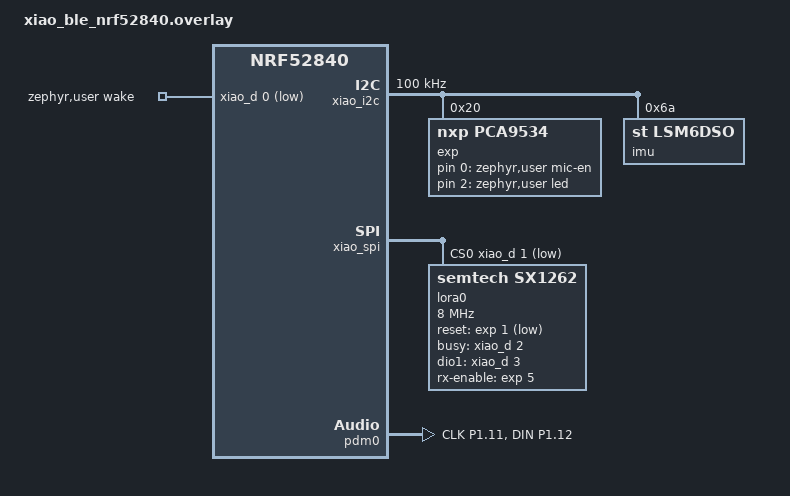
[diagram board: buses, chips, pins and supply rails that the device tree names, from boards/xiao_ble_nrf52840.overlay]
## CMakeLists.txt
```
# SylvaEcho firmware (Zephyr / nRF Connect SDK)
# Build:  west build -b xiao_ble/nrf52840 Firmware                       (rev 0.4, BME680)
#         west build -b xiao_ble/nrf52840 Firmware -- -DSENSOR=bme280      (rev 0.3, BME280)
cmake_minimum_required(VERSION 3.20.0)

# Environment sensor variant: bme680 (board rev 0.4, default) or bme280 (board rev 0.3)
set(SENSOR bme680 CACHE STRING "Environment sensor: bme680 or bme280")
set_property(CACHE SENSOR PROPERTY STRINGS bme680 bme280)
if(NOT SENSOR MATCHES "^(bme680|bme280)$")
  message(FATAL_ERROR "SENSOR must be bme680 or bme280, got '${SENSOR}'")
endif()
list(APPEND EXTRA_DTC_OVERLAY_FILE ${CMAKE_CURRENT_SOURCE_DIR}/variants/${SENSOR}.overlay)

# Per-node secrets (auth key): copy secrets.conf.example to secrets.conf (git-ignored).
if(EXISTS ${CMAKE_CURRENT_LIST_DIR}/secrets.conf)
  list(APPEND EXTRA_CONF_FILE ${CMAKE_CURRENT_LIST_DIR}/secrets.conf)
endif()

find_package(Zephyr REQUIRED HINTS $ENV{ZEPHYR_BASE})
project(sylvaecho)

target_sources(app PRIVATE
    src/main.c
    src/audio.c
    src/features.c
    src/payload.c
    src/sc1.c
    src/auth.c
)
```

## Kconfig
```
menu "SylvaEcho node"

config SYLVAECHO_AUTH_KEY
	string "Per-node report signing key (64 hex digits)"
	default ""
	help
	  32-byte HMAC-SHA256 key, as 64 hex digits. Put it in secrets.conf,
	  never in git, and register the same key for this node on the
	  dashboard server (Dashboard/backend/keys.json). Empty = reports are
	  sent unsigned.

endmenu

source "Kconfig.zephyr"
```

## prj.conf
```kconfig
# Core
CONFIG_MAIN_STACK_SIZE=4096
CONFIG_HEAP_MEM_POOL_SIZE=8192
CONFIG_FPU=y

# Buses and devices
CONFIG_GPIO=y
CONFIG_I2C=y
CONFIG_SPI=y
CONFIG_SENSOR=y
CONFIG_LORA=y
CONFIG_AUDIO=y
CONFIG_AUDIO_DMIC=y

# Random boot epoch for report authentication
CONFIG_ENTROPY_GENERATOR=y

# Power
CONFIG_PM_DEVICE=y

# Logging over RTT (UART0 pins D6/D7 are used by the PDM microphone)
CONFIG_LOG=y
CONFIG_LOG_DEFAULT_LEVEL=3
CONFIG_USE_SEGGER_RTT=y
CONFIG_LOG_BACKEND_RTT=y
CONFIG_LOG_BACKEND_UART=n
CONFIG_CONSOLE=n
CONFIG_UART_CONSOLE=n
CONFIG_SERIAL=n
CONFIG_CBPRINTF_FP_SUPPORT=y
```

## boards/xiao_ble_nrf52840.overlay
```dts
/*
 * SylvaEcho carrier board (rev 0.3 BME280, rev 0.4 BME680)
 *
 * XIAO pin map
 *   D0  WAKE_N      piezo comparator + LSM6DSOX INT1 (open-drain, active low)
 *   D1  LORA_NSS    D2 LORA_BUSY    D3 LORA_DIO1
 *   D4  I2C SDA     D5 I2C SCL      (LSM6DSOX 0x6A, BME680/BME280 0x76, TCA9534 0x20)
 *   D6  PDM CLK     D7 PDM DATA     (P1.11 / P1.12)
 *   D8  SPI SCK     D9 SPI MISO     D10 SPI MOSI
 *
 * TCA9534 outputs
 *   P0 EN_MIC   P1 LORA_NRST   P2 LED   P3 spare   P4 spare   P5 LORA_RXEN (Wio RF_SW, high = receive)
 */

#include <zephyr/dt-bindings/lora/sx126x.h>

/ {
	zephyr,user {
		wake-gpios = <&xiao_d 0 GPIO_ACTIVE_LOW>;
		mic-en-gpios = <&exp 0 GPIO_ACTIVE_HIGH>;
		led-gpios = <&exp 2 GPIO_ACTIVE_HIGH>;
	};

	aliases {
		lora0 = &lora0;
		imu0 = &imu;
		env0 = &env;
		dmic0 = &pdm0;
	};
};

/* D6/D7 carry the PDM microphone, so the default UART on those pins is off. */
&uart0 {
	status = "disabled";
};

&xiao_i2c {
	status = "okay";
	clock-frequency = <I2C_BITRATE_STANDARD>;

	/* TCA9534 is register-compatible with PCA9534. */
	exp: gpio@20 {
		compatible = "nxp,pca9534";
		reg = <0x20>;
		gpio-controller;
		#gpio-cells = <2>;
		ngpios = <8>;
	};

	/* LSM6DSOX shares WHO_AM_I and register map with LSM6DSO. */
	imu: lsm6dso@6a {
		compatible = "st,lsm6dso";
		reg = <0x6a>;
	};

	/* Environment sensor (node label "env", address 0x76) is added by
	 * variants/bme680.overlay or variants/bme280.overlay; see CMakeLists.txt.
	 */
};

&xiao_spi {
	status = "okay";
	cs-gpios = <&xiao_d 1 GPIO_ACTIVE_LOW>;

	lora0: lora@0 {
		compatible = "semtech,sx1262";
		reg = <0>;
		spi-max-frequency = <8000000>;
		reset-gpios = <&exp 1 GPIO_ACTIVE_LOW>;
		busy-gpios = <&xiao_d 2 GPIO_ACTIVE_HIGH>;
		dio1-gpios = <&xiao_d 3 GPIO_ACTIVE_HIGH>;
		rx-enable-gpios = <&exp 5 GPIO_ACTIVE_HIGH>;
		dio2-tx-enable;
		/* Wio-SX1262 datasheet: TCXO 1.7-3.3 V, at least 200 mV below VCC. */
		dio3-tcxo-voltage = <SX126X_DIO3_TCXO_1V8>;
		tcxo-power-startup-delay-ms = <5>;
	};
};

&pinctrl {
	pdm0_default: pdm0_default {
		group1 {
			psels = <NRF_PSEL(PDM_CLK, 1, 11)>,
				<NRF_PSEL(PDM_DIN, 1, 12)>;
		};
	};

	pdm0_sleep: pdm0_sleep {
		group1 {
			psels = <NRF_PSEL(PDM_CLK, 1, 11)>,
				<NRF_PSEL(PDM_DIN, 1, 12)>;
			low-power-enable;
		};
	};
};

&pdm0 {
	status = "okay";
	pinctrl-0 = <&pdm0_default>;
	pinctrl-1 = <&pdm0_sleep>;
	pinctrl-names = "default", "sleep";
	clock-source = "PCLK32M_HFXO";
};
```

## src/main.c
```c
/*
 * SylvaEcho: solar LoRa tree sensor
 *
 * Two triggers:
 *   - timer: every BIO_INTERVAL_S, record BIO_LISTEN_S of audio and report
 *     pollinator / bird activity, tilt and climate
 *   - WAKE_N: the piezo comparator (or IMU INT1) saw trunk vibration;
 *     confirm with trunk vibration RMS and LOGGING_CHECK_CLIPS of audio,
 *     and send a priority alert only when both agree
 */
#include <math.h>
#include <stdlib.h>
#include <zephyr/kernel.h>
#include <zephyr/device.h>
#include <zephyr/drivers/gpio.h>
#include <zephyr/drivers/lora.h>
#include <zephyr/drivers/sensor.h>
#include <zephyr/logging/log.h>
#include <zephyr/random/random.h>

#include "audio.h"
#include "auth.h"
#include "config.h"
#include "features.h"
#include "payload.h"
#include "sc1.h"
#include "sc1_regs.h"

LOG_MODULE_REGISTER(sylvaecho, LOG_LEVEL_INF);

#define USER DT_PATH(zephyr_user)

static const struct gpio_dt_spec wake = GPIO_DT_SPEC_GET(USER, wake_gpios);
static const struct gpio_dt_spec led = GPIO_DT_SPEC_GET(USER, led_gpios);
static const struct device *const exp = DEVICE_DT_GET(DT_NODELABEL(exp));

static const struct device *const lora = DEVICE_DT_GET(DT_ALIAS(lora0));
static const struct device *const imu = DEVICE_DT_GET(DT_ALIAS(imu0));
static const struct device *const env = DEVICE_DT_GET(DT_ALIAS(env0));

static K_SEM_DEFINE(wake_sem, 0, 1);
static struct gpio_callback wake_cb;
static uint16_t seq;
static float base_pitch, base_roll;

static void on_wake(const struct device *dev, struct gpio_callback *cb, uint32_t pins)
{
	k_sem_give(&wake_sem);
}

/* ---------------------------------------------------------------- LoRa */

static int radio_send(const struct report *r, int8_t dbm)
{
	struct lora_modem_config c = {
		.frequency = LORA_FREQ_HZ,
		.bandwidth = LORA_BW,
		.datarate = LORA_SF,
		.coding_rate = LORA_CR,
		.preamble_len = 8,
		.tx_power = dbm,
		.tx = true,
	};
	uint8_t buf[PAYLOAD_MAX_LEN];
	size_t len = auth_seal(buf, payload_pack(r, buf, sizeof(buf)), sizeof(buf));
	int err = lora_config(lora, &c);

	if (err == 0) {
		err = lora_send(lora, buf, len);
	}
	LOG_INF("tx type %u seq %u len %u err %d", r->type, r->seq, len, err);
	return err;
}

/* ----------------------------------------------------------- Sensors */

static int read_tilt(float *pitch, float *roll)
{
	struct sensor_value a[3];

	if (sensor_sample_fetch_chan(imu, SENSOR_CHAN_ACCEL_XYZ) ||
	    sensor_channel_get(imu, SENSOR_CHAN_ACCEL_XYZ, a)) {
		return -EIO;
	}
	float x = sensor_value_to_float(&a[0]);
	float y = sensor_value_to_float(&a[1]);
	float z = sensor_value_to_float(&a[2]);

	*pitch = atan2f(x, sqrtf(y * y + z * z)) * 57.2958f;
	*roll = atan2f(y, sqrtf(x * x + z * z)) * 57.2958f;
	return 0;
}

/* Short high-rate burst: RMS of trunk acceleration in milli-g. */
static int vibration_rms_mg(void)
{
	struct sensor_value odr = { .val1 = 1666, .val2 = 0 };
	struct sensor_value a[3];
	static double acc[200][3]; /* static: too large for the main stack */
	double sum = 0.0, mean[3] = { 0 };
	int n = ARRAY_SIZE(acc);

	sensor_attr_set(imu, SENSOR_CHAN_ACCEL_XYZ, SENSOR_ATTR_SAMPLING_FREQUENCY, &odr);
	for (int i = 0; i < n; i++) {
		sensor_sample_fetch_chan(imu, SENSOR_CHAN_ACCEL_XYZ);
		sensor_channel_get(imu, SENSOR_CHAN_ACCEL_XYZ, a);
		for (int k = 0; k < 3; k++) {
			acc[i][k] = sensor_value_to_double(&a[k]);
			mean[k] += acc[i][k] / n;
		}
		k_busy_wait(600);
	}
	for (int i = 0; i < n; i++) {
		for (int k = 0; k < 3; k++) {
			double d = acc[i][k] - mean[k];

			sum += d * d;
		}
	}
	odr.val1 = 12;
	odr.val2 = 500000;
	sensor_attr_set(imu, SENSOR_CHAN_ACCEL_XYZ, SENSOR_ATTR_SAMPLING_FREQUENCY, &odr);
	/* m/s^2 to milli-g */
	return (int)(sqrt(sum / n) / 9.80665 * 1000.0);
}

static void read_climate(struct report *r)
{
	struct sensor_value t, h, p;

	if (sensor_sample_fetch(env)) {
		r->flags |= FLAG_SENSOR_FAULT;
		return;
	}
	sensor_channel_get(env, SENSOR_CHAN_AMBIENT_TEMP, &t);
	sensor_channel_get(env, SENSOR_CHAN_HUMIDITY, &h);
	sensor_channel_get(env, SENSOR_CHAN_PRESS, &p);
	r->temp_cx100 = (int16_t)(sensor_value_to_double(&t) * 100.0);
	r->rh_pct = (uint8_t)sensor_value_to_double(&h);
	r->press_hpa_x10 = (uint16_t)(sensor_value_to_double(&p) * 100.0); /* kPa to hPa x10 */

	/* The BQ25570 has no temperature input; flag charging outside 0-45 degC for review. */
	if (r->temp_cx100 < CHARGE_MIN_C_X100 || r->temp_cx100 > CHARGE_MAX_C_X100) {
		r->flags |= FLAG_TEMP_OUT_OF_CHARGE_RANGE;
	}
}

static void fill_tilt(struct report *r)
{
	float pitch, roll;

	if (read_tilt(&pitch, &roll) == 0) {
		r->tilt_x_dx10 = (int16_t)((pitch - base_pitch) * 10.0f);
		r->tilt_y_dx10 = (int16_t)((roll - base_roll) * 10.0f);
	} else {
		r->flags |= FLAG_SENSOR_FAULT;
	}
}

static void new_report(struct report *r, uint8_t type)
{
	*r = (struct report){ .type = type, .node_id = NODE_ID, .seq = seq++ };
}

/* Attach the SC-1 block. Call after read_climate(): the cell NTC, when fitted,
 * replaces the enclosure temperature for the LiFePO4 charge-window flag. */
static void attach_sc1(struct report *r)
{
	if (!sc1_present() || sc1_read(&r->sc1) != 0) {
		return;
	}
	r->has_sc1 = true;
	if (r->sc1.temp_cell_cx100 != SC1_TEMP_INVALID) {
		int16_t t = r->sc1.temp_cell_cx100;

		r->flags &= ~FLAG_TEMP_OUT_OF_CHARGE_RANGE;
		if (t < CHARGE_MIN_C_X100 || t > CHARGE_MAX_C_X100) {
			r->flags |= FLAG_TEMP_OUT_OF_CHARGE_RANGE;
		}
	}
}

/* ---------------------------------------------------------- Handlers */

static void biodiversity_window(void)
{
	struct audio_features f;
	struct report r;

	features_init(&f);
	audio_capture(&f, BIO_LISTEN_S * 1000);

	new_report(&r, MSG_REPORT);
	r.buzz_index = features_buzz_index(&f);
	r.bird_score = features_bird_score(&f);
	fill_tilt(&r);
	read_climate(&r);
	attach_sc1(&r);

	bool tilted = abs(r.tilt_x_dx10) > TILT_ALERT_DEG_X10 ||
		      abs(r.tilt_y_dx10) > TILT_ALERT_DEG_X10;
	if (tilted) {
		r.type = MSG_TILT;
	}
	radio_send(&r, tilted ? LORA_TX_DBM_ALERT : LORA_TX_DBM_REPORT);

	/* Borer listen runs on the SC-1 while the node sleeps; the result goes in the next report. */
	if (sc1_present()) {
		sc1_command(SC1_CMD_CLEAR);
		sc1_command(SC1_CMD_LISTEN);
	}
}

/* WAKE_N is shared: the SC-1 pulses it for rain, low-battery and borer alerts.
 * Report alerts that are new since the last look, then fall through to the
 * chainsaw check (it exits quickly when the trunk is still). */
static void sc1_check_events(void)
{
	static uint8_t seen;
	const uint8_t alerts = SC1_ST_RAIN_ALERT | SC1_ST_LOW_BATT | SC1_ST_BORER_ALERT;
	uint8_t st;

	if (!sc1_present() || sc1_status(&st) != 0) {
		return;
	}
	uint8_t fresh = st & alerts & ~seen;

	seen = st & alerts;
	if (!fresh) {
		return;
	}
	LOG_INF("SC-1 alert 0x%02x", fresh);

	struct report r;

	new_report(&r, MSG_SC1_EVENT);
	fill_tilt(&r);
	read_climate(&r);
	attach_sc1(&r);
	radio_send(&r, LORA_TX_DBM_ALERT);
	sc1_command(SC1_CMD_CLEAR);
}

/* Returns true when the trunk was actually vibrating (a real check ran). */
static bool logging_check(void)
{
	int vib = vibration_rms_mg();
	int hits = 0;
	uint8_t best = 0;

	LOG_INF("wake: vibration %d mg", vib);
	if (vib < VIB_RMS_MIN_MG) {
		return false;
	}
	for (int i = 0; i < LOGGING_CHECK_CLIPS; i++) {
		struct audio_features f;

		features_init(&f);
		audio_capture(&f, 1000);
		uint8_t s = features_chainsaw_score(&f);

		best = MAX(best, s);
		if (s >= CHAINSAW_SCORE_MIN) {
			hits++;
		}
	}
	LOG_INF("chainsaw clips %d/%d, best %u", hits, LOGGING_CHECK_CLIPS, best);
	if (hits < LOGGING_CLIPS_NEEDED) {
		return true;
	}

	struct report r;

	new_report(&r, MSG_LOGGING);
	r.saw_score = best;
	fill_tilt(&r);
	read_climate(&r);
	attach_sc1(&r);
	gpio_pin_set_dt(&led, 1);
	radio_send(&r, LORA_TX_DBM_ALERT);
	gpio_pin_set_dt(&led, 0);
	return true;
}

/* -------------------------------------------------------------- Main */

int main(void)
{
	const struct device *devs[] = { lora, imu, env };

	for (size_t i = 0; i < ARRAY_SIZE(devs); i++) {
		if (!device_is_ready(devs[i])) {
			LOG_ERR("%s not ready", devs[i]->name);
		}
	}
	gpio_pin_configure_dt(&led, GPIO_OUTPUT_INACTIVE);
	/* Unused expander pins P3, P4, P6, P7: drive low so they do not float. */
	if (device_is_ready(exp)) {
		const gpio_pin_t spare[] = { 3, 4, 6, 7 };

		for (size_t i = 0; i < ARRAY_SIZE(spare); i++) {
			gpio_pin_configure(exp, spare[i], GPIO_OUTPUT_INACTIVE);
		}
	}
	audio_init();
	sc1_init();
	if (auth_init(CONFIG_SYLVAECHO_AUTH_KEY, sys_rand32_get()) == 0) {
		LOG_INF("reports are signed (HMAC-SHA256)");
	} else {
		LOG_WRN("no auth key in secrets.conf: reports are NOT signed");
	}

	gpio_pin_configure_dt(&wake, GPIO_INPUT);
	gpio_init_callback(&wake_cb, on_wake, BIT(wake.pin));
	gpio_add_callback(wake.port, &wake_cb);
	gpio_pin_interrupt_configure_dt(&wake, GPIO_INT_EDGE_TO_ACTIVE);

	/* Baseline tilt at install time; the BLE setup flow will re-zero it. */
	read_tilt(&base_pitch, &base_roll);

	struct report boot;

	new_report(&boot, MSG_BOOT);
	read_climate(&boot);
	attach_sc1(&boot);
	radio_send(&boot, LORA_TX_DBM_REPORT);

	int64_t next_bio = k_uptime_get() + (int64_t)BIO_INTERVAL_S * 1000;

	while (1) {
		int64_t wait = next_bio - k_uptime_get();

		if (wait > 0 && k_sem_take(&wake_sem, K_MSEC(wait)) == 0) {
			sc1_check_events();
			/* Hold off only after a real vibration check, so an SC-1 pulse
			 * never blinds the chainsaw detector for a minute. */
			if (logging_check()) {
				k_sleep(K_SECONDS(WAKE_HOLDOFF_S));
			}
			k_sem_reset(&wake_sem);
			continue;
		}
		biodiversity_window();
		next_bio = k_uptime_get() + (int64_t)BIO_INTERVAL_S * 1000;
	}
	return 0;
}
```

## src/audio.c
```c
#include <zephyr/kernel.h>
#include <zephyr/audio/dmic.h>
#include <zephyr/drivers/gpio.h>
#include <zephyr/pm/device.h>
#include <zephyr/logging/log.h>

#include "audio.h"
#include "config.h"

LOG_MODULE_REGISTER(audio, LOG_LEVEL_INF);

#define BLOCK_BYTES (AUDIO_BLOCK_SAMPLES * sizeof(int16_t))
#define BLOCK_COUNT 4

K_MEM_SLAB_DEFINE_STATIC(audio_slab, BLOCK_BYTES, BLOCK_COUNT, 4);

static const struct device *const dmic = DEVICE_DT_GET(DT_ALIAS(dmic0));
static const struct gpio_dt_spec mic_en =
	GPIO_DT_SPEC_GET(DT_PATH(zephyr_user), mic_en_gpios);

static struct pcm_stream_cfg stream = {
	.pcm_rate = AUDIO_RATE_HZ,
	.pcm_width = 16,
	.block_size = BLOCK_BYTES,
	.mem_slab = &audio_slab,
};

static struct dmic_cfg cfg = {
	.io = {
		.min_pdm_clk_freq = 1000000,
		.max_pdm_clk_freq = 3500000,
		.min_pdm_clk_dc = 40,
		.max_pdm_clk_dc = 60,
	},
	.streams = &stream,
	.channel = {
		.req_num_streams = 1,
		.req_num_chan = 1,
	},
};

int audio_init(void)
{
	if (!device_is_ready(dmic) || !gpio_is_ready_dt(&mic_en)) {
		LOG_ERR("mic devices not ready");
		return -ENODEV;
	}
	cfg.channel.req_chan_map_lo = dmic_build_channel_map(0, 0, PDM_CHAN_LEFT);
	gpio_pin_configure_dt(&mic_en, GPIO_OUTPUT_INACTIVE);
	/* Keep the PDM pins parked while the mic rail is off. */
	pm_device_action_run(dmic, PM_DEVICE_ACTION_SUSPEND);
	return 0;
}

int audio_capture(struct audio_features *f, int ms)
{
	int blocks = ms / AUDIO_BLOCK_MS;
	int err;

	gpio_pin_set_dt(&mic_en, 1);
	pm_device_action_run(dmic, PM_DEVICE_ACTION_RESUME);
	k_msleep(MIC_SETTLE_MS);

	err = dmic_configure(dmic, &cfg);
	if (err == 0) {
		err = dmic_trigger(dmic, DMIC_TRIGGER_START);
	}
	if (err) {
		LOG_ERR("dmic start failed: %d", err);
		goto off;
	}

	/* Drop the first block: PDM mics need a few ms to settle. */
	for (int i = 0; i <= blocks; i++) {
		void *buf;
		uint32_t size;

		err = dmic_read(dmic, 0, &buf, &size, AUDIO_BLOCK_MS * 2);
		if (err) {
			LOG_ERR("dmic read failed: %d", err);
			break;
		}
		if (i > 0) {
			features_push(f, buf, size / sizeof(int16_t));
		}
		k_mem_slab_free(&audio_slab, buf);
	}

	dmic_trigger(dmic, DMIC_TRIGGER_STOP);
off:
	pm_device_action_run(dmic, PM_DEVICE_ACTION_SUSPEND);
	gpio_pin_set_dt(&mic_en, 0);
	return err;
}
```

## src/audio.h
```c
#ifndef SYLVAECHO_AUDIO_H
#define SYLVAECHO_AUDIO_H

#include "features.h"

int audio_init(void);

/* Switch the mic rail on, stream `ms` of audio into `f`, switch it off. */
int audio_capture(struct audio_features *f, int ms);

#endif
```

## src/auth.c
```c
/* Report authentication (see auth.h). Plain C, no Zephyr dependency, so the
 * same code is unit-tested on a PC against Python's hmac module. */
#include <string.h>

#include "auth.h"
#include "payload.h"

/* ------------------------------------------------------------ SHA-256 */
struct sha256 {
	uint32_t h[8];
	uint64_t len;
	uint8_t buf[64];
	size_t n;
};

static const uint32_t K[64] = {
	0x428a2f98, 0x71374491, 0xb5c0fbcf, 0xe9b5dba5, 0x3956c25b, 0x59f111f1, 0x923f82a4, 0xab1c5ed5,
	0xd807aa98, 0x12835b01, 0x243185be, 0x550c7dc3, 0x72be5d74, 0x80deb1fe, 0x9bdc06a7, 0xc19bf174,
	0xe49b69c1, 0xefbe4786, 0x0fc19dc6, 0x240ca1cc, 0x2de92c6f, 0x4a7484aa, 0x5cb0a9dc, 0x76f988da,
	0x983e5152, 0xa831c66d, 0xb00327c8, 0xbf597fc7, 0xc6e00bf3, 0xd5a79147, 0x06ca6351, 0x14292967,
	0x27b70a85, 0x2e1b2138, 0x4d2c6dfc, 0x53380d13, 0x650a7354, 0x766a0abb, 0x81c2c92e, 0x92722c85,
	0xa2bfe8a1, 0xa81a664b, 0xc24b8b70, 0xc76c51a3, 0xd192e819, 0xd6990624, 0xf40e3585, 0x106aa070,
	0x19a4c116, 0x1e376c08, 0x2748774c, 0x34b0bcb5, 0x391c0cb3, 0x4ed8aa4a, 0x5b9cca4f, 0x682e6ff3,
	0x748f82ee, 0x78a5636f, 0x84c87814, 0x8cc70208, 0x90befffa, 0xa4506ceb, 0xbef9a3f7, 0xc67178f2,
};

#define ROR(x, n) (((x) >> (n)) | ((x) << (32 - (n))))

static void sha_block(struct sha256 *s, const uint8_t *p)
{
	uint32_t w[64], a, b, c, d, e, f, g, h;

	for (int i = 0; i < 16; i++) {
		w[i] = (uint32_t)p[4 * i] << 24 | (uint32_t)p[4 * i + 1] << 16 |
		       (uint32_t)p[4 * i + 2] << 8 | p[4 * i + 3];
	}
	for (int i = 16; i < 64; i++) {
		uint32_t s0 = ROR(w[i - 15], 7) ^ ROR(w[i - 15], 18) ^ (w[i - 15] >> 3);
		uint32_t s1 = ROR(w[i - 2], 17) ^ ROR(w[i - 2], 19) ^ (w[i - 2] >> 10);

		w[i] = w[i - 16] + s0 + w[i - 7] + s1;
	}
	a = s->h[0]; b = s->h[1]; c = s->h[2]; d = s->h[3];
	e = s->h[4]; f = s->h[5]; g = s->h[6]; h = s->h[7];
	for (int i = 0; i < 64; i++) {
		uint32_t t1 = h + (ROR(e, 6) ^ ROR(e, 11) ^ ROR(e, 25)) + ((e & f) ^ (~e & g)) + K[i] + w[i];
		uint32_t t2 = (ROR(a, 2) ^ ROR(a, 13) ^ ROR(a, 22)) + ((a & b) ^ (a & c) ^ (b & c));

		h = g; g = f; f = e; e = d + t1;
		d = c; c = b; b = a; a = t1 + t2;
	}
	s->h[0] += a; s->h[1] += b; s->h[2] += c; s->h[3] += d;
	s->h[4] += e; s->h[5] += f; s->h[6] += g; s->h[7] += h;
}

static void sha_init(struct sha256 *s)
{
	static const uint32_t iv[8] = {
		0x6a09e667, 0xbb67ae85, 0x3c6ef372, 0xa54ff53a, 0x510e527f, 0x9b05688c, 0x1f83d9ab, 0x5be0cd19,
	};

	memcpy(s->h, iv, sizeof(iv));
	s->len = 0;
	s->n = 0;
}

static void sha_update(struct sha256 *s, const uint8_t *p, size_t len)
{
	s->len += len;
	while (len--) {
		s->buf[s->n++] = *p++;
		if (s->n == 64) {
			sha_block(s, s->buf);
			s->n = 0;
		}
	}
}

static void sha_final(struct sha256 *s, uint8_t out[32])
{
	uint64_t bits = s->len * 8;
	uint8_t pad = 0x80;

	sha_update(s, &pad, 1);
	pad = 0;
	while (s->n != 56) {
		sha_update(s, &pad, 1);
	}
	for (int i = 7; i >= 0; i--) {
		uint8_t b = (uint8_t)(bits >> (8 * i));

		sha_update(s, &b, 1);
	}
	for (int i = 0; i < 8; i++) {
		out[4 * i] = s->h[i] >> 24;
		out[4 * i + 1] = s->h[i] >> 16;
		out[4 * i + 2] = s->h[i] >> 8;
		out[4 * i + 3] = s->h[i];
	}
}

void hmac_sha256(const uint8_t *key, size_t key_len, const uint8_t *msg, size_t msg_len,
		 uint8_t out[32])
{
	uint8_t k[64] = { 0 }, pad[64], inner[32];
	struct sha256 s;

	if (key_len > 64) {
		sha_init(&s);
		sha_update(&s, key, key_len);
		sha_final(&s, k);
	} else {
		memcpy(k, key, key_len);
	}
	for (int i = 0; i < 64; i++) {
		pad[i] = k[i] ^ 0x36;
	}
	sha_init(&s);
	sha_update(&s, pad, 64);
	sha_update(&s, msg, msg_len);
	sha_final(&s, inner);
	for (int i = 0; i < 64; i++) {
		pad[i] = k[i] ^ 0x5c;
	}
	sha_init(&s);
	sha_update(&s, pad, 64);
	sha_update(&s, inner, 32);
	sha_final(&s, out);
}

/* ----------------------------------------------------------- sealing */
static uint8_t key[32];
static size_t key_len;
static uint32_t epoch, counter;

static int hexval(char c)
{
	if (c >= '0' && c <= '9') return c - '0';
	if (c >= 'a' && c <= 'f') return c - 'a' + 10;
	if (c >= 'A' && c <= 'F') return c - 'A' + 10;
	return -1;
}

int auth_init(const char *hex_key, uint32_t boot_epoch)
{
	size_t n = hex_key ? strlen(hex_key) : 0;

	key_len = 0;
	if (n != 64) {
		return -1;
	}
	for (size_t i = 0; i < 32; i++) {
		int hi = hexval(hex_key[2 * i]), lo = hexval(hex_key[2 * i + 1]);

		if (hi < 0 || lo < 0) {
			return -1;
		}
		key[i] = (uint8_t)(hi << 4 | lo);
	}
	key_len = 32;
	epoch = boot_epoch;
	counter = 0;
	return 0;
}

static void put32(uint8_t *p, uint32_t v)
{
	p[0] = v; p[1] = v >> 8; p[2] = v >> 16; p[3] = v >> 24;
}

size_t auth_seal(uint8_t *buf, size_t len, size_t cap)
{
	uint8_t mac[32];

	if (!key_len || len < PAYLOAD_BASE_LEN || len + AUTH_TRAILER_LEN > cap) {
		return len;
	}
	buf[18] |= EXT_AUTH;
	put32(&buf[len], epoch);
	put32(&buf[len + 4], ++counter);
	hmac_sha256(key, key_len, buf, len + 8, mac);
	memcpy(&buf[len + 8], mac, AUTH_TAG_LEN);
	return len + AUTH_TRAILER_LEN;
}
```

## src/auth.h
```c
/*
 * Report authentication: every packet ends with a 16-byte trailer
 *
 *   u32 epoch    random at each boot (replay window resets safely on reboot)
 *   u32 counter  increments with every packet in this epoch
 *   u8  tag[8]   HMAC-SHA256(key, all bytes before the tag), truncated
 *
 * Byte 18 of the report gets EXT_AUTH. The server rejects a bad tag (forged or
 * altered) and any (epoch, counter) it has already accepted (replayed).
 *
 * The key is a per-node 32-byte secret, set in secrets.conf
 * (CONFIG_SYLVAECHO_AUTH_KEY, 64 hex digits). Next step: hold it in the
 * ATECC608B on SC-1 and use its HMAC command and monotonic counter, so the key
 * never sits in MCU flash.
 */
#ifndef SYLVAECHO_AUTH_H
#define SYLVAECHO_AUTH_H

#include <stddef.h>
#include <stdint.h>

#define AUTH_TRAILER_LEN 16
#define AUTH_TAG_LEN     8

/* Parse the hex key and pick the boot epoch. Returns 0, or -1 if no key (unsigned mode). */
int auth_init(const char *hex_key, uint32_t epoch);

/* Append the trailer to a packed report. Returns the new length, or `len` unchanged
 * when authentication is off or `cap` is too small. */
size_t auth_seal(uint8_t *buf, size_t len, size_t cap);

/* Exposed for tests. */
void hmac_sha256(const uint8_t *key, size_t key_len, const uint8_t *msg, size_t msg_len,
		 uint8_t out[32]);

#endif
```

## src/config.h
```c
#ifndef SYLVAECHO_CONFIG_H
#define SYLVAECHO_CONFIG_H

/* Schedule */
#define BIO_INTERVAL_S          (30 * 60)  /* biodiversity window every 30 min */
#define BIO_LISTEN_S            10         /* seconds of audio per window */
#define LOGGING_CHECK_CLIPS     3          /* 1 s clips checked after a wake */
#define LOGGING_CLIPS_NEEDED    2          /* clips that must look like a chainsaw */
#define WAKE_HOLDOFF_S          60         /* ignore new wakes this long after a check */

/* Audio */
#define AUDIO_RATE_HZ           16000
#define AUDIO_BLOCK_MS          100
#define AUDIO_BLOCK_SAMPLES     (AUDIO_RATE_HZ * AUDIO_BLOCK_MS / 1000)
#define MIC_SETTLE_MS           50

/* Detection thresholds: placeholders until the classifier is trained */
#define CHAINSAW_SCORE_MIN      60         /* 0-100 */
#define VIB_RMS_MIN_MG          25         /* trunk vibration RMS during a check */
#define TILT_ALERT_DEG_X10      30         /* 3.0 degrees from the installed baseline */

/* LiFePO4 charge temperature window, reported as a flag (BQ25570 has no NTC input) */
#define CHARGE_MIN_C_X100       0
#define CHARGE_MAX_C_X100       4500

/* LoRa (P2P). IN865 example channel; change for EU868 / US915. */
#define LORA_FREQ_HZ            865062500
#define LORA_SF                 SF_10
#define LORA_BW                 BW_125_KHZ
#define LORA_CR                 CR_4_5
#define LORA_TX_DBM_REPORT      14
#define LORA_TX_DBM_ALERT       20
#define NODE_ID                 0x0001

#endif
```

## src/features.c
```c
#include <math.h>
#include "features.h"
#include "config.h"

#ifndef M_PI
#define M_PI 3.14159265358979323846
#endif

/* RBJ biquad band-pass (constant 0 dB peak gain). */
static void bandpass(struct band_filter *bf, float f_lo, float f_hi)
{
	float f0 = sqrtf(f_lo * f_hi);
	float bw_oct = log2f(f_hi / f_lo);
	float w0 = 2.0f * (float)M_PI * f0 / AUDIO_RATE_HZ;
	float alpha = sinf(w0) * sinhf(logf(2.0f) / 2.0f * bw_oct * w0 / sinf(w0));
	float a0 = 1.0f + alpha;

	bf->b0 = alpha / a0;
	bf->b1 = 0.0f;
	bf->b2 = -alpha / a0;
	bf->a1 = -2.0f * cosf(w0) / a0;
	bf->a2 = (1.0f - alpha) / a0;
	bf->z1 = bf->z2 = 0.0f;
}

static inline float run(struct band_filter *bf, float x)
{
	float y = bf->b0 * x + bf->z1;

	bf->z1 = bf->b1 * x - bf->a1 * y + bf->z2;
	bf->z2 = bf->b2 * x - bf->a2 * y;
	return y;
}

void features_init(struct audio_features *f)
{
	bandpass(&f->buzz, 150.0f, 400.0f);
	bandpass(&f->bird, 1000.0f, 6000.0f);
	bandpass(&f->saw, 100.0f, 1000.0f);
	f->e_total = f->e_buzz = f->e_bird = f->e_saw = 0.0;
	f->n = 0;
}

void features_push(struct audio_features *f, const int16_t *pcm, size_t count)
{
	for (size_t i = 0; i < count; i++) {
		float x = (float)pcm[i] / 32768.0f;
		float yb = run(&f->buzz, x);
		float yr = run(&f->bird, x);
		float ys = run(&f->saw, x);

		f->e_total += (double)(x * x);
		f->e_buzz += (double)(yb * yb);
		f->e_bird += (double)(yr * yr);
		f->e_saw += (double)(ys * ys);
	}
	f->n += count;
}

static uint8_t ratio_score(double band, double total)
{
	if (total <= 1e-12) {
		return 0;
	}
	double r = band / total;

	if (r > 1.0) {
		r = 1.0;
	}
	return (uint8_t)(r * 100.0 + 0.5);
}

uint8_t features_buzz_index(const struct audio_features *f)
{
	return ratio_score(f->e_buzz, f->e_total);
}

uint8_t features_bird_score(const struct audio_features *f)
{
	return ratio_score(f->e_bird, f->e_total);
}

uint8_t features_chainsaw_score(const struct audio_features *f)
{
	/* A running saw puts most energy into 100-1000 Hz at a high level. */
	double rms = f->n ? sqrt(f->e_total / f->n) : 0.0;
	uint8_t share = ratio_score(f->e_saw, f->e_total);

	return (rms > 0.02) ? share : share / 4;
}
```

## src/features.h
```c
#ifndef SYLVAECHO_FEATURES_H
#define SYLVAECHO_FEATURES_H

#include <stdint.h>
#include <stddef.h>

/*
 * Band-energy features computed block by block while audio streams in.
 * These stand in for the Edge Impulse / TFLite Micro classifier until the
 * dataset is collected; the interface stays the same when the model lands.
 */
struct band_filter {
	float b0, b1, b2, a1, a2;
	float z1, z2;
};

struct audio_features {
	struct band_filter buzz;     /* 150-400 Hz: pollinator wingbeat */
	struct band_filter bird;     /* 1-6 kHz: bird song */
	struct band_filter saw;      /* 100-1000 Hz: chainsaw harmonics */
	double e_total, e_buzz, e_bird, e_saw;
	uint32_t n;
};

void features_init(struct audio_features *f);
void features_push(struct audio_features *f, const int16_t *pcm, size_t count);

/* 0-100 scores for the samples pushed since features_init(). */
uint8_t features_buzz_index(const struct audio_features *f);
uint8_t features_bird_score(const struct audio_features *f);
uint8_t features_chainsaw_score(const struct audio_features *f);

#endif
```

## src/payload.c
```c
#include "payload.h"

static void put16(uint8_t *p, uint16_t v)
{
	p[0] = (uint8_t)(v & 0xff);
	p[1] = (uint8_t)(v >> 8);
}

size_t payload_pack(const struct report *r, uint8_t *out, size_t cap)
{
	size_t len = PAYLOAD_BASE_LEN + (r->has_sc1 ? PAYLOAD_SC1_LEN : 0);

	if (cap < len) {
		return 0;
	}
	out[0] = r->type;
	out[1] = r->flags;
	put16(&out[2], r->node_id);
	out[4] = r->buzz_index;
	out[5] = r->bird_score;
	out[6] = r->saw_score;
	put16(&out[7], (uint16_t)r->tilt_x_dx10);
	put16(&out[9], (uint16_t)r->tilt_y_dx10);
	put16(&out[11], (uint16_t)r->temp_cx100);
	out[13] = r->rh_pct;
	put16(&out[14], r->press_hpa_x10);
	put16(&out[16], r->seq);
	out[18] = r->has_sc1 ? EXT_SC1 : 0;

	if (r->has_sc1) {
		const struct sc1_data *s = &r->sc1;
		uint8_t *p = &out[PAYLOAD_BASE_LEN];

		put16(&p[0], s->vbat_mv);
		put16(&p[2], (uint16_t)s->ibat_ma_x10);
		p[4] = s->soc_pct;
		p[5] = s->status;
		put16(&p[6], (uint16_t)s->temp_cell_cx100);
		put16(&p[8], (uint16_t)s->temp_soil_cx100);
		p[10] = s->soil_pct;
		p[11] = s->borer_index;
		put16(&p[12], s->rain_1h);
		put16(&p[14], s->rain_24h);
		put16(&p[16], s->rain_3d);
		put16(&p[18], s->rain_5d);
		put16(&p[20], s->rain_7d);
		put16(&p[22], s->rain_15d);
	}
	return len;
}
```

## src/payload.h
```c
#ifndef SYLVAECHO_PAYLOAD_H
#define SYLVAECHO_PAYLOAD_H

#include <stdbool.h>
#include <stdint.h>
#include <stddef.h>

#include "sc1.h"

enum msg_type {
	MSG_REPORT = 0x01,     /* scheduled biodiversity + climate report */
	MSG_LOGGING = 0x02,    /* confirmed vibration + chainsaw alert */
	MSG_TILT = 0x03,       /* tilt beyond threshold */
	MSG_BOOT = 0x04,
	MSG_SC1_EVENT = 0x05,  /* SC-1 raised rain, low-battery or borer alert */
};

enum msg_flags {
	FLAG_TEMP_OUT_OF_CHARGE_RANGE = 0x01,
	FLAG_SENSOR_FAULT = 0x02,
};

/* Byte 18 of the base report: which extension blocks follow. */
enum ext_flags {
	EXT_SC1 = 0x01,        /* 24-byte SC-1 block at offset 19 */
	EXT_AUTH = 0x02,       /* 16-byte auth trailer at the end (auth.h) */
};

struct report {
	uint8_t type;
	uint8_t flags;
	uint16_t node_id;
	uint8_t buzz_index;     /* 0-100 */
	uint8_t bird_score;     /* 0-100 */
	uint8_t saw_score;      /* 0-100 */
	int16_t tilt_x_dx10;    /* degrees x10 from baseline */
	int16_t tilt_y_dx10;
	int16_t temp_cx100;     /* degC x100 */
	uint8_t rh_pct;
	uint16_t press_hpa_x10;
	uint16_t seq;

	bool has_sc1;
	struct sc1_data sc1;
};

#define PAYLOAD_BASE_LEN 19
#define PAYLOAD_SC1_LEN  24
#define PAYLOAD_AUTH_LEN 16
#define PAYLOAD_MAX_LEN  (PAYLOAD_BASE_LEN + PAYLOAD_SC1_LEN + PAYLOAD_AUTH_LEN)

/*
 * Little-endian. 19-byte base report (unchanged from v1, so old gateways still
 * parse it), then the SC-1 block when byte 18 has EXT_SC1 set:
 *   19 u16 vbat_mv        21 s16 ibat 0.1 mA    23 u8 soc %     24 u8 SC-1 status
 *   25 s16 cell 0.01 C    27 s16 soil 0.01 C    29 u8 soil %    30 u8 borer index
 *   31 u16 rain 1 h       33 u16 rain 24 h      35 u16 rain 3 d 37 u16 rain 5 d
 *   39 u16 rain 7 d       41 u16 rain 15 d      (rain in 0.2 mm tips)
 * When byte 18 has EXT_AUTH, auth_seal() adds a 16-byte trailer last:
 *   u32 boot epoch, u32 counter, 8-byte HMAC-SHA256 tag over everything before it.
 * Returns the length written, 0 if `cap` is too small.
 */
size_t payload_pack(const struct report *r, uint8_t *out, size_t cap);

#endif
```

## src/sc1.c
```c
/*
 * SC-1 companion board driver: ATtiny1616 co-processor at 0x2A on the
 * main-board I2C bus (Qwiic J7). Register map: sc1_regs.h.
 */
#include <zephyr/kernel.h>
#include <zephyr/device.h>
#include <zephyr/drivers/i2c.h>
#include <zephyr/logging/log.h>
#include <zephyr/sys/byteorder.h>

#include "sc1.h"
#include "sc1_regs.h"

LOG_MODULE_REGISTER(sc1, LOG_LEVEL_INF);

static const struct device *const bus = DEVICE_DT_GET(DT_NODELABEL(xiao_i2c));
static bool present;

static int rd(uint8_t reg, uint8_t *buf, size_t len)
{
	/* The co-processor may be asleep: the address match wakes it, so retry once. */
	int err = i2c_write_read(bus, SC1_I2C_ADDR, &reg, 1, buf, len);

	if (err) {
		k_msleep(2);
		err = i2c_write_read(bus, SC1_I2C_ADDR, &reg, 1, buf, len);
	}
	return err;
}

bool sc1_init(void)
{
	uint8_t id[2];

	present = false;
	if (!device_is_ready(bus)) {
		return false;
	}
	if (rd(SC1_REG_ID, id, sizeof(id)) == 0 && id[0] == SC1_ID_VALUE) {
		present = true;
		LOG_INF("SC-1 found, firmware v%u", id[1]);
	} else {
		LOG_INF("SC-1 not fitted");
	}
	return present;
}

bool sc1_present(void)
{
	return present;
}

int sc1_status(uint8_t *status)
{
	return present ? rd(SC1_REG_STATUS, status, 1) : -ENODEV;
}

int sc1_command(uint8_t cmd)
{
	uint8_t buf[2] = { SC1_REG_CMD, cmd };

	if (!present) {
		return -ENODEV;
	}
	int err = i2c_write(bus, buf, sizeof(buf), SC1_I2C_ADDR);

	if (err) {
		k_msleep(2);
		err = i2c_write(bus, buf, sizeof(buf), SC1_I2C_ADDR);
	}
	return err;
}

int sc1_read(struct sc1_data *d)
{
	uint8_t a[16], b[16], st;
	int err;

	if (!present) {
		return -ENODEV;
	}
	/* Two 16-byte reads: the co-processor serves at most 16 bytes per transfer. */
	err = rd(SC1_REG_VBAT_MV, a, sizeof(a));
	if (!err) {
		err = rd(SC1_REG_RAIN_1H, b, sizeof(b));
	}
	if (!err) {
		err = rd(SC1_REG_STATUS, &st, 1);
	}
	if (err) {
		LOG_WRN("SC-1 read failed: %d", err);
		return err;
	}

#define A16(r) sys_get_le16(&a[(r) - SC1_REG_VBAT_MV])
#define B16(r) sys_get_le16(&b[(r) - SC1_REG_RAIN_1H])
	d->vbat_mv = A16(SC1_REG_VBAT_MV);
	d->ibat_ma_x10 = (int16_t)A16(SC1_REG_IBAT);
	d->soc_pct = a[SC1_REG_SOC - SC1_REG_VBAT_MV];
	d->status = st;
	d->temp_cell_cx100 = (int16_t)A16(SC1_REG_TEMP_CELL);
	d->temp_soil_cx100 = (int16_t)A16(SC1_REG_TEMP_SOIL);
	d->soil_pct = a[SC1_REG_SOIL_PCT - SC1_REG_VBAT_MV];
	d->borer_index = a[SC1_REG_BORER_IDX - SC1_REG_VBAT_MV];
	d->rain_1h = B16(SC1_REG_RAIN_1H);
	d->rain_24h = B16(SC1_REG_RAIN_24H);
	d->rain_3d = B16(SC1_REG_RAIN_3D);
	d->rain_5d = B16(SC1_REG_RAIN_5D);
	d->rain_7d = B16(SC1_REG_RAIN_7D);
	d->rain_15d = B16(SC1_REG_RAIN_15D);
#undef A16
#undef B16
	return 0;
}
```

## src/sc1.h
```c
#ifndef SYLVAECHO_SC1_H
#define SYLVAECHO_SC1_H

#include <stdbool.h>
#include <stdint.h>

/* Snapshot of the SC-1 companion board, as carried in the report extension. */
struct sc1_data {
	uint16_t vbat_mv;
	int16_t ibat_ma_x10;     /* + = discharging */
	uint8_t soc_pct;
	uint8_t status;          /* SC1_ST_* bits */
	int16_t temp_cell_cx100; /* SC1_TEMP_INVALID if no probe */
	int16_t temp_soil_cx100;
	uint8_t soil_pct;        /* 0xFF if no probe */
	uint8_t borer_index;
	uint16_t rain_1h;        /* tips, 0.2 mm each */
	uint16_t rain_24h;
	uint16_t rain_3d;
	uint16_t rain_5d;
	uint16_t rain_7d;
	uint16_t rain_15d;
};

/* Probe for the add-on at boot. Everything else is a no-op when it is absent. */
bool sc1_init(void);
bool sc1_present(void);

/* Read the status byte only (cheap; use first after a WAKE_N edge). */
int sc1_status(uint8_t *status);

/* Read all measurements. */
int sc1_read(struct sc1_data *d);

/* Commands: see SC1_CMD_* in sc1_regs.h. */
int sc1_command(uint8_t cmd);

#endif
```

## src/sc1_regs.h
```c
/*
 * SC-1 co-processor register map (I2C slave 0x2A on the main-board bus).
 *
 * All multi-byte values are little-endian. Read: write the start register,
 * then a repeated-start read of up to 16 bytes (the pointer auto-increments).
 * Write: start register followed by data bytes.
 *
 * This file is shared with the node firmware (Firmware/src/sc1.c): keep both
 * copies identical.
 */
#ifndef SC1_REGS_H
#define SC1_REGS_H

#define SC1_I2C_ADDR        0x2A
#define SC1_ID_VALUE        0x5C
#define SC1_FW_VERSION      0x01
#define SC1_REG_COUNT       0x40

/* ---- identity, status, command ---- */
#define SC1_REG_ID          0x00  /* u8  0x5C */
#define SC1_REG_FW          0x01  /* u8  firmware version */
#define SC1_REG_STATUS      0x02  /* u8  flags below; cleared with SC1_CMD_CLEAR */
#define SC1_REG_CMD         0x03  /* u8  write-only command */
#define SC1_REG_UPTIME      0x04  /* u32 seconds since power-up */

/* ---- measurements (read-only) ---- */
#define SC1_REG_VBAT_MV     0x10  /* u16 battery voltage, mV */
#define SC1_REG_IBAT        0x12  /* s16 battery current, 0.1 mA, + = discharging */
#define SC1_REG_SOC         0x14  /* u8  state of charge, % */
#define SC1_REG_TEMP_CELL   0x16  /* s16 cell temperature, 0.01 degC (0x8000 = no probe) */
#define SC1_REG_TEMP_SOIL   0x18  /* s16 soil temperature, 0.01 degC (0x8000 = no probe) */
#define SC1_REG_SOIL_RAW    0x1A  /* u16 soil probe, 12-bit ADC counts */
#define SC1_REG_SOIL_PCT    0x1C  /* u8  soil moisture, % (0xFF = no probe) */
#define SC1_REG_BORER_IDX   0x1D  /* u8  borer activity index 0-100 (last listen) */
#define SC1_REG_BORER_CPM   0x1E  /* u16 impulsive clicks per minute (last listen) */
#define SC1_REG_RAIN_1H     0x20  /* u16 rain gauge tips, last 60 min (0.2 mm each) */
#define SC1_REG_RAIN_24H    0x22  /* u16 tips, last 24 h */
#define SC1_REG_RAIN_3D     0x24  /* u16 tips, last 3 days */
#define SC1_REG_RAIN_5D     0x26  /* u16 tips, last 5 days */
#define SC1_REG_RAIN_7D     0x28  /* u16 tips, last 7 days */
#define SC1_REG_RAIN_15D    0x2A  /* u16 tips, last 15 days */
#define SC1_REG_USED_MAH    0x2C  /* s32 charge drawn since last full, 0.01 mAh */

/* ---- configuration (read/write, saved with SC1_CMD_SAVE) ---- */
#define SC1_REG_CAPACITY    0x30  /* u16 cell capacity, mAh (1000) */
#define SC1_REG_BATT_PERIOD 0x32  /* u16 battery sample period, s (60) */
#define SC1_REG_FIELD_PERIOD 0x34 /* u16 soil + NTC period, s (1800) */
#define SC1_REG_SOIL_DRY    0x36  /* u16 soil raw in dry air (2730) */
#define SC1_REG_SOIL_WET    0x38  /* u16 soil raw in water (1240) */
#define SC1_REG_RAIN_ALERT  0x3A  /* u16 tips in 60 min that raise RAIN_ALERT (50 = 10 mm/h) */
#define SC1_REG_LOW_BATT    0x3C  /* u8  SOC % that raises LOW_BATT (15) */
#define SC1_REG_BORER_ALERT 0x3D  /* u8  borer index that raises BORER_ALERT (50) */
#define SC1_REG_LISTEN_S    0x3E  /* u8  borer listen window, s (20) */
#define SC1_REG_WAKE_MASK   0x3F  /* u8  STATUS bits that pulse WAKE (0x0E) */
#define SC1_CONFIG_FIRST    SC1_REG_CAPACITY

/* STATUS bits */
#define SC1_ST_RAIN_TIP     0x01  /* at least one tip since last clear */
#define SC1_ST_RAIN_ALERT   0x02  /* rain in last 60 min >= RAIN_ALERT */
#define SC1_ST_LOW_BATT     0x04  /* SOC <= LOW_BATT or VBAT < 3.0 V */
#define SC1_ST_BORER_ALERT  0x08  /* last listen index >= BORER_ALERT */
#define SC1_ST_INA_FAULT    0x10  /* INA219 did not answer */
#define SC1_ST_LISTENING    0x20  /* borer listen window running */
#define SC1_ST_NEW_DATA     0x40  /* measurements updated since last clear */
/* Bits cleared by SC1_CMD_CLEAR. LOW_BATT is a level: it follows each battery sample,
 * and WAKE pulses only when it is first raised. */
#define SC1_ST_EVENTS       (SC1_ST_RAIN_TIP | SC1_ST_RAIN_ALERT | SC1_ST_BORER_ALERT | \
			     SC1_ST_NEW_DATA)

/* Commands (write to SC1_REG_CMD) */
#define SC1_CMD_MEASURE     0x01  /* sample battery, soil and NTCs now */
#define SC1_CMD_CLEAR       0x02  /* clear STATUS event bits */
#define SC1_CMD_BATT_FULL   0x03  /* the cell is full now: SOC = 100 % */
#define SC1_CMD_LISTEN      0x10  /* start a borer listen window */
#define SC1_CMD_SAVE        0xA5  /* save configuration to EEPROM */
#define SC1_CMD_DEFAULTS    0xD0  /* restore default configuration */

#define SC1_TEMP_INVALID    ((int16_t)0x8000)

#endif
```
